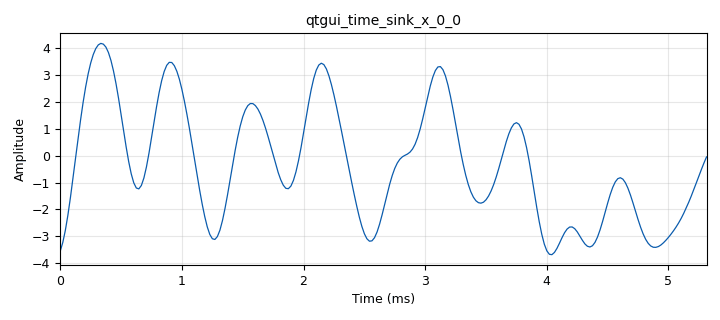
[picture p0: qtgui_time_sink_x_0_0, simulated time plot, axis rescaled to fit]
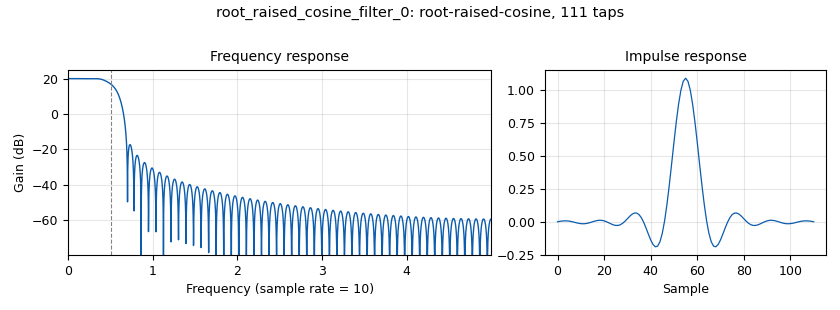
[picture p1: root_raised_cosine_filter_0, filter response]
<?xml version='1.0' encoding='utf-8'?>
<?grc format='1' created='3.7.12'?>
<flow_graph>
<block>
<key>options</key>
<param><key>id</key><value>fourpam_demod_example</value></param>
<param><key>generate_options</key><value>qt_gui</value></param>
</block>
<block>
<key>variable_qtgui_range</key>
<param><key>id</key><value>noise_amp</value></param>
<param><key>value</key><value>0</value></param>
<param><key>label</key><value>Noise Amp</value></param>
<param><key>orient</key><value>Qt.Horizontal</value></param>
<param><key>start</key><value>0</value></param>
<param><key>step</key><value>0.01</value></param>
<param><key>stop</key><value>1</value></param>
</block>
<block>
<key>variable</key>
<param><key>id</key><value>samp_rate</value></param>
<param><key>value</key><value>48000</value></param>
</block>
<block>
<key>variable_qtgui_range</key>
<param><key>id</key><value>variable_qtgui_range_0</value></param>
<param><key>value</key><value>5</value></param>
<param><key>label</key><value>Delay</value></param>
<param><key>orient</key><value>Qt.Horizontal</value></param>
<param><key>start</key><value>0</value></param>
<param><key>step</key><value>1</value></param>
<param><key>stop</key><value>200</value></param>
</block>
<block>
<key>analog_noise_source_x</key>
<param><key>id</key><value>analog_noise_source_x_0</value></param>
<param><key>amp</key><value>noise_amp</value></param>
<param><key>noise_type</key><value>analog.GR_GAUSSIAN</value></param>
<param><key>type</key><value>float</value></param>
<param><key>seed</key><value>0</value></param>
</block>
<block>
<key>analog_random_source_x</key>
<param><key>id</key><value>analog_random_source_x_0</value></param>
<param><key>max</key><value>4</value></param>
<param><key>min</key><value>0</value></param>
<param><key>num_samps</key><value>1000</value></param>
<param><key>type</key><value>int</value></param>
<param><key>repeat</key><value>True</value></param>
</block>
<block>
<key>blocks_add_const_vxx</key>
<param><key>id</key><value>blocks_add_const_vxx_0</value></param>
<param><key>const</key><value>-3</value></param>
<param><key>type</key><value>int</value></param>
</block>
<block>
<key>blocks_add_xx</key>
<param><key>id</key><value>blocks_add_xx_0</value></param>
<param><key>type</key><value>float</value></param>
</block>
<block>
<key>blocks_delay</key>
<param><key>id</key><value>blocks_delay_0</value></param>
<param><key>delay</key><value>int(variable_qtgui_range_0)</value></param>
<param><key>type</key><value>float</value></param>
</block>
<block>
<key>blocks_int_to_float</key>
<param><key>id</key><value>blocks_int_to_float_0</value></param>
<param><key>scale</key><value>1</value></param>
</block>
<block>
<key>blocks_multiply_const_vxx</key>
<param><key>id</key><value>blocks_multiply_const_vxx_0</value></param>
<param><key>const</key><value>2</value></param>
<param><key>type</key><value>int</value></param>
</block>
<block>
<key>pam_fourpam_demod_ff</key>
<param><key>id</key><value>pam_fourpam_demod_ff_0</value></param>
<param><key>tune</key><value>False</value></param>
<param><key>sample_rate</key><value>48000</value></param>
<param><key>symbol_rate</key><value>4800</value></param>
</block>
<block>
<key>qtgui_time_sink_x</key>
<param><key>id</key><value>qtgui_time_sink_x_0</value></param>
<param><key>color1</key><value>"blue"</value></param>
<param><key>label1</key><value></value></param>
<param><key>color2</key><value>"red"</value></param>
<param><key>label2</key><value></value></param>
<param><key>nconnections</key><value>2</value></param>
<param><key>size</key><value>128</value></param>
<param><key>srate</key><value>samp_rate</value></param>
<param><key>type</key><value>float</value></param>
<param><key>ymax</key><value>4</value></param>
<param><key>ymin</key><value>-4</value></param>
</block>
<block>
<key>qtgui_time_sink_x</key>
<param><key>id</key><value>qtgui_time_sink_x_0_0</value></param>
<param><key>color1</key><value>"blue"</value></param>
<param><key>label1</key><value></value></param>
<param><key>size</key><value>256</value></param>
<param><key>srate</key><value>samp_rate</value></param>
<param><key>type</key><value>float</value></param>
<param><key>ymax</key><value>4</value></param>
<param><key>ymin</key><value>-4</value></param>
</block>
<block>
<key>rational_resampler_xxx</key>
<param><key>id</key><value>rational_resampler_xxx_0</value></param>
<param><key>decim</key><value>1</value></param>
<param><key>interp</key><value>1</value></param>
<param><key>taps</key><value>[1,]</value></param>
<param><key>type</key><value>fff</value></param>
</block>
<block>
<key>root_raised_cosine_filter</key>
<param><key>id</key><value>root_raised_cosine_filter_0</value></param>
<param><key>alpha</key><value>0.35</value></param>
<param><key>type</key><value>interp_fir_filter_fff</value></param>
<param><key>gain</key><value>10</value></param>
<param><key>interp</key><value>10</value></param>
<param><key>ntaps</key><value>11*10</value></param>
<param><key>samp_rate</key><value>10</value></param>
<param><key>sym_rate</key><value>1</value></param>
</block>
<block>
<key>root_raised_cosine_filter</key>
<param><key>id</key><value>root_raised_cosine_filter_0_0</value></param>
<param><key>alpha</key><value>0.35</value></param>
<param><key>decim</key><value>10</value></param>
<param><key>_enabled</key><value>0</value></param>
<param><key>type</key><value>fir_filter_fff</value></param>
<param><key>gain</key><value>1</value></param>
<param><key>interp</key><value>10</value></param>
<param><key>ntaps</key><value>11*10</value></param>
<param><key>samp_rate</key><value>10</value></param>
<param><key>sym_rate</key><value>1</value></param>
</block>
<connection><source_block_id>analog_noise_source_x_0</source_block_id><sink_block_id>blocks_add_xx_0</sink_block_id><source_key>0</source_key><sink_key>1</sink_key></connection>
<connection><source_block_id>analog_random_source_x_0</source_block_id><sink_block_id>blocks_multiply_const_vxx_0</sink_block_id><source_key>0</source_key><sink_key>0</sink_key></connection>
<connection><source_block_id>blocks_add_const_vxx_0</source_block_id><sink_block_id>blocks_int_to_float_0</sink_block_id><source_key>0</source_key><sink_key>0</sink_key></connection>
<connection><source_block_id>blocks_add_xx_0</source_block_id><sink_block_id>root_raised_cosine_filter_0</sink_block_id><source_key>0</source_key><sink_key>0</sink_key></connection>
<connection><source_block_id>blocks_delay_0</source_block_id><sink_block_id>qtgui_time_sink_x_0</sink_block_id><source_key>0</source_key><sink_key>0</sink_key></connection>
<connection><source_block_id>blocks_int_to_float_0</source_block_id><sink_block_id>blocks_add_xx_0</sink_block_id><source_key>0</source_key><sink_key>0</sink_key></connection>
<connection><source_block_id>blocks_int_to_float_0</source_block_id><sink_block_id>rational_resampler_xxx_0</sink_block_id><source_key>0</source_key><sink_key>0</sink_key></connection>
<connection><source_block_id>blocks_multiply_const_vxx_0</source_block_id><sink_block_id>blocks_add_const_vxx_0</sink_block_id><source_key>0</source_key><sink_key>0</sink_key></connection>
<connection><source_block_id>pam_fourpam_demod_ff_0</source_block_id><sink_block_id>qtgui_time_sink_x_0</sink_block_id><source_key>0</source_key><sink_key>1</sink_key></connection>
<connection><source_block_id>rational_resampler_xxx_0</source_block_id><sink_block_id>blocks_delay_0</sink_block_id><source_key>0</source_key><sink_key>0</sink_key></connection>
<connection><source_block_id>root_raised_cosine_filter_0</source_block_id><sink_block_id>pam_fourpam_demod_ff_0</sink_block_id><source_key>0</source_key><sink_key>0</sink_key></connection>
<connection><source_block_id>root_raised_cosine_filter_0</source_block_id><sink_block_id>qtgui_time_sink_x_0_0</sink_block_id><source_key>0</source_key><sink_key>0</sink_key></connection>
<connection><source_block_id>root_raised_cosine_filter_0</source_block_id><sink_block_id>root_raised_cosine_filter_0_0</sink_block_id><source_key>0</source_key><sink_key>0</sink_key></connection>
<connection><source_block_id>root_raised_cosine_filter_0_0</source_block_id><sink_block_id>qtgui_time_sink_x_0</sink_block_id><source_key>0</source_key><sink_key>1</sink_key></connection>
</flow_graph>
